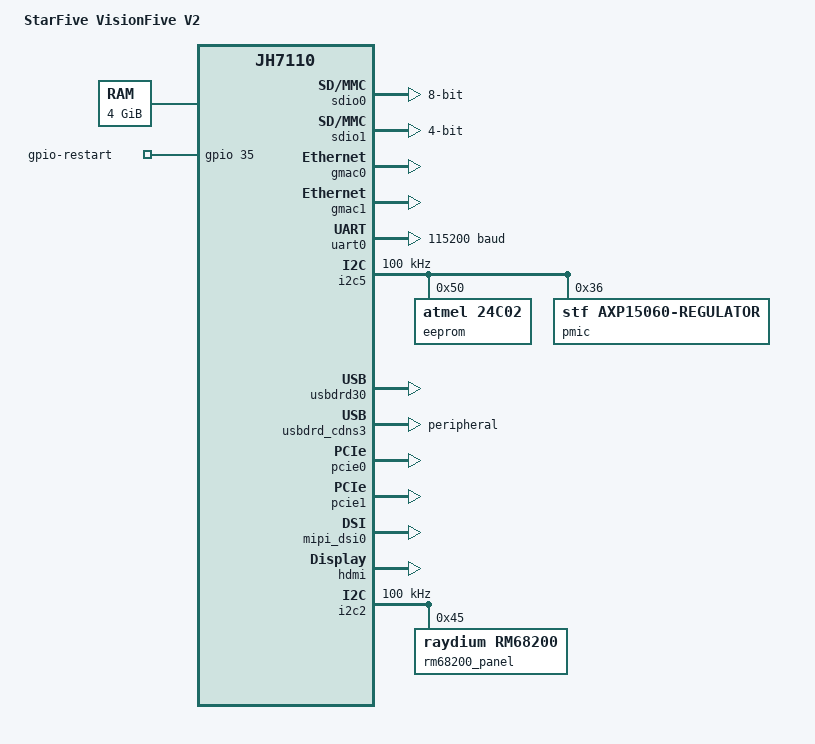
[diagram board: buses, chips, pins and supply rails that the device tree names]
// SPDX-License-Identifier: GPL-2.0 OR MIT
/*
 * Copyright (C) 2022 StarFive Technology Co., Ltd.
 */

/dts-v1/;

#include "jh7110.dtsi"
#include <dt-bindings/gpio/gpio.h>
#include <dt-bindings/pinctrl/pinctrl-starfive-jh7110.h>
/ {
	#address-cells = <2>;
	#size-cells = <2>;
	model = "StarFive VisionFive V2";
	compatible = "starfive,jh7110";

	aliases {
		spi0="/soc/spi@13010000";
		gpio0="/soc/gpio@13040000";
		ethernet0=&gmac0;
		ethernet1=&gmac1;
		mmc0=&sdio0;
		mmc1=&sdio1;
		i2c0 = &i2c5;
	};

	chosen {
			stdout-path = "/soc/serial@10000000:115200";
			starfive,boot-hart-id = <1>;
	};


	memory@80000000 {
		device_type = "memory";
		reg = <0x0 0x40000000 0x1 0x0>;
	};

	reserved-memory {
			#size-cells = <2>;
			#address-cells = <2>;
			ranges;

			opensbi {
				reg = <0x00 0x40000000 0x00 0x80000>;
				no-map;
			};
	};

	soc {
	};

	gpio-restart {
		compatible = "gpio-restart";
		gpios = <&gpio 35 GPIO_ACTIVE_HIGH>;
	};
};

&cpu0 {
	status = "okay";
};

&clkgen {
	clocks = <&osc>, <&gmac1_rmii_refin>,
		<&stg_apb>, <&gmac0_rmii_refin>;
	clock-names = "osc", "gmac1_rmii_refin",
		"stg_apb", "gmac0_rmii_refin";
};

&gpio {
	status = "okay";
	gpio-controller;
	uart0_pins: uart0-0 {
		tx-pins {
			pinmux = <GPIOMUX(5, GPOUT_SYS_UART0_TX,
						GPOEN_ENABLE, GPI_NONE)>;
			bias-disable;
			drive-strength = <12>;
			input-disable;
			input-schmitt-disable;
			slew-rate = <0>;
		};

		rx-pins {
			pinmux = <GPIOMUX(6, GPOUT_LOW,
						GPOEN_DISABLE, GPI_SYS_UART0_RX)>;
			bias-pull-up;
			drive-strength = <2>;
			input-enable;
			input-schmitt-enable;
			slew-rate = <0>;
		};
	};

	mmc0_pins: mmc0-pins {
		 mmc0-pins-rest {
			pinmux = <GPIOMUX(62, GPOUT_SYS_SDIO0_RST,
						GPOEN_ENABLE, GPI_NONE)>;
			bias-pull-up;
			drive-strength = <12>;
			input-disable;
			input-schmitt-disable;
			slew-rate = <0>;
		};
	};

	sdcard1_pins: sdcard1-pins {
		sdcard1-pins0 {
			pinmux = <GPIOMUX(10, GPOUT_SYS_SDIO1_CLK,
						GPOEN_ENABLE, GPI_NONE)>;
			bias-pull-up;
			drive-strength = <12>;
			input-disable;
			input-schmitt-disable;
			slew-rate = <0>;
		};

		sdcard1-pins1 {
			pinmux = <GPIOMUX(9, GPOUT_SYS_SDIO1_CMD,
						GPOEN_SYS_SDIO1_CMD, GPI_SYS_SDIO1_CMD)>;
			bias-pull-up;
			drive-strength = <12>;
			input-enable;
			input-schmitt-enable;
			slew-rate = <0>;
		};

		sdcard1-pins2 {
			pinmux = <GPIOMUX(11, GPOUT_SYS_SDIO1_DATA0,
						GPOEN_SYS_SDIO1_DATA0, GPI_SYS_SDIO1_DATA0)>;
			bias-pull-up;
			drive-strength = <12>;
			input-enable;
			input-schmitt-enable;
			slew-rate = <0>;
		};

		sdcard1-pins3 {
			pinmux = <GPIOMUX(12, GPOUT_SYS_SDIO1_DATA1,
						GPOEN_SYS_SDIO1_DATA1, GPI_SYS_SDIO1_DATA1)>;
			bias-pull-up;
			drive-strength = <12>;
			input-enable;
			input-schmitt-enable;
			slew-rate = <0>;
		};

		sdcard1-pins4 {
			pinmux = <GPIOMUX(7, GPOUT_SYS_SDIO1_DATA2,
						GPOEN_SYS_SDIO1_DATA2, GPI_SYS_SDIO1_DATA2)>;
			bias-pull-up;
			drive-strength = <12>;
			input-enable;
			input-schmitt-enable;
			slew-rate = <0>;
		};

		sdcard1-pins5 {
			pinmux = <GPIOMUX(8, GPOUT_SYS_SDIO1_DATA3,
						GPOEN_SYS_SDIO1_DATA3, GPI_SYS_SDIO1_DATA3)>;
			bias-pull-up;
			drive-strength = <12>;
			input-enable;
			input-schmitt-enable;
			slew-rate = <0>;
		};
	};

	pcie0_perst_default: pcie0_perst_default {
		perst-pins {
			pinmux = <GPIOMUX(26, GPOUT_HIGH, GPOEN_ENABLE, GPI_NONE)>;
			drive-strength = <2>;
			input-disable;
			input-schmitt-disable;
			slew-rate = <0>;
		};
	};

	pcie0_perst_active: pcie0_perst_active {
		perst-pins {
			pinmux = <GPIOMUX(26, GPOUT_LOW, GPOEN_ENABLE, GPI_NONE)>;
			drive-strength = <2>;
			input-disable;
			input-schmitt-disable;
			slew-rate = <0>;
		};
	};

	pcie0_wake_default: pcie0_wake_default {
		wake-pins {
			pinmux = <GPIOMUX(32, GPOUT_HIGH, GPOEN_ENABLE, GPI_NONE)>;
			drive-strength = <2>;
			input-enable;
			input-schmitt-disable;
			slew-rate = <0>;
		};
	};

	pcie0_clkreq_default: pcie0_clkreq_default {
		clkreq-pins {
			pinmux = <GPIOMUX(27, GPOUT_HIGH, GPOEN_ENABLE, GPI_NONE)>;
			drive-strength = <2>;
			input-enable;
			input-schmitt-disable;
			slew-rate = <0>;
		};
	};

	pcie1_perst_default: pcie1_perst_default {
		perst-pins {
			pinmux = <GPIOMUX(28, GPOUT_HIGH, GPOEN_ENABLE, GPI_NONE)>;
			drive-strength = <2>;
			input-disable;
			input-schmitt-disable;
			slew-rate = <0>;
		};
	};

	pcie1_perst_active: pcie1_perst_active {
		perst-pins {
			pinmux = <GPIOMUX(28, GPOUT_LOW, GPOEN_ENABLE, GPI_NONE)>;
			drive-strength = <2>;
			input-disable;
			input-schmitt-disable;
			slew-rate = <0>;
		};
	};

	pcie1_wake_default: pcie1_wake_default {
		wake-pins {
			pinmux = <GPIOMUX(21, GPOUT_HIGH, GPOEN_ENABLE, GPI_NONE)>;
			drive-strength = <2>;
			input-enable;
			input-schmitt-disable;
			slew-rate = <0>;
		};
	};

	pcie1_clkreq_default: pcie1_clkreq_default {
		clkreq-pins {
			pinmux = <GPIOMUX(29, GPOUT_HIGH, GPOEN_ENABLE, GPI_NONE)>;
			drive-strength = <2>;
			input-enable;
			input-schmitt-disable;
			slew-rate = <0>;
		};
	};

	i2c2_pins: i2c2-0 {
		i2c-pins {
			pinmux = <GPIOMUX(3, GPOUT_LOW,
				  GPOEN_SYS_I2C2_CLK,
				  GPI_SYS_I2C2_CLK)>,
				 <GPIOMUX(2, GPOUT_LOW,
				  GPOEN_SYS_I2C2_DATA,
				  GPI_SYS_I2C2_DATA)>;
			bias-disable; /* external pull-up */
			input-enable;
			input-schmitt-enable;
		};
	};

	i2c5_pins: i2c5-0 {
		i2c-pins {
			pinmux = <GPIOMUX(19, GPOUT_LOW,
				  GPOEN_SYS_I2C5_CLK,
				  GPI_SYS_I2C5_CLK)>,
				 <GPIOMUX(20, GPOUT_LOW,
				  GPOEN_SYS_I2C5_DATA,
				  GPI_SYS_I2C5_DATA)>;
			bias-disable; /* external pull-up */
			input-enable;
			input-schmitt-enable;
		};
	};

	hdmi_pins: hdmi-0 {


		cec-pins {
			pinmux = <GPIOMUX(14, GPOUT_SYS_HDMI_CEC_SDA,
				  GPOEN_SYS_HDMI_CEC_SDA,
				  GPI_SYS_HDMI_CEC_SDA)>;
			bias-pull-up;
			input-enable;
		};

		hpd-pins {
			pinmux = <GPIOMUX(15, GPOUT_LOW,
				  GPOEN_DISABLE,
				  GPI_SYS_HDMI_HPD)>;
			input-enable;
		};
	};
};

&sdio0 {
	assigned-clocks = <&clkgen JH7110_SDIO0_CLK_SDCARD>;
	assigned-clock-rates = <50000000>;
	fifo-depth = <32>;
	bus-width = <8>;
	pinctrl-names = "default";
	pinctrl-0 = <&mmc0_pins>;
	status = "okay";
};

&sdio1 {
	assigned-clocks = <&clkgen JH7110_SDIO1_CLK_SDCARD>;
	assigned-clock-rates = <50000000>;
	fifo-depth = <32>;
	bus-width = <4>;
	pinctrl-names = "default";
	pinctrl-0 = <&sdcard1_pins>;
	status = "okay";
};

&gmac0 {
	status = "okay";
	#address-cells = <1>;
	#size-cells = <0>;
	phy0: ethernet-phy@0 {
		rgmii_sw_dr_2 = <0x0>;
		rgmii_sw_dr = <0x3>;
		rgmii_sw_dr_rxc = <0x6>;
		rxc_dly_en = <0>;
		rx_delay_sel = <0xa>;
		tx_delay_sel_fe = <5>;
		tx_delay_sel = <0xa>;
		tx_inverted_10 = <0x1>;
		tx_inverted_100 = <0x1>;
		tx_inverted_1000 = <0x1>;
	};
};

&gmac1 {
	status = "okay";
	#address-cells = <1>;
	#size-cells = <0>;
	phy1: ethernet-phy@1 {
		rgmii_sw_dr_2 = <0x0>;
		rgmii_sw_dr = <0x3>;
		rgmii_sw_dr_rxc = <0x6>;
		tx_delay_sel_fe = <5>;
		tx_delay_sel = <0>;
		rxc_dly_en = <0>;
		rx_delay_sel = <0x2>;
		tx_inverted_10 = <0x1>;
		tx_inverted_100 = <0x1>;
		tx_inverted_1000 = <0x0>;
	};
};

&uart0 {
	reg-offset = <0>;
	current-speed = <115200>;
	pinctrl-names = "default";
	pinctrl-0 = <&uart0_pins>;
	status = "okay";
};

&i2c5 {
	clock-frequency = <100000>;
	i2c-sda-hold-time-ns = <300>;
	i2c-sda-falling-time-ns = <3000>;
	i2c-scl-falling-time-ns = <3000>;
	auto_calc_scl_lhcnt;
	status = "okay";

	eeprom@50 {
		compatible = "atmel,24c02";
		reg = <0x50>;
		pagesize = <16>;
	};

	pmic: axp15060_reg@36 {
               compatible = "stf,axp15060-regulator";
               reg = <0x36>;
	};

};

&gpioa {
	status = "disabled";
};

&usbdrd30 {
	status = "okay";
};

&usbdrd_cdns3 {
	dr_mode = "peripheral";
};

&pcie0 {
	pinctrl-names = "perst-default", "perst-active", "wake-default", "clkreq-default";
	pinctrl-0 = <&pcie0_perst_default>;
	pinctrl-1 = <&pcie0_perst_active>;
	pinctrl-2 = <&pcie0_wake_default>;
	pinctrl-3 = <&pcie0_clkreq_default>;
	status = "okay";
};

&pcie1 {
	pinctrl-names = "perst-default", "perst-active", "wake-default", "clkreq-default";
	pinctrl-0 = <&pcie1_perst_default>;
	pinctrl-1 = <&pcie1_perst_active>;
	pinctrl-2 = <&pcie1_wake_default>;
	pinctrl-3 = <&pcie1_clkreq_default>;
	status = "okay";
};

&timer {
	status = "disabled";
};

&wdog {
	status = "disabled";
};

&clkvout {
	status = "okay";
};

&pdm {
	status = "disabled";
};

&mipi_dsi0 {
	status = "okay";
	rockchip,panel = <&rm68200_panel>;
	data-lanes-num = <1>;
	display-timings {
		timing0 {
		bits-per-pixel = <24>;
		clock-frequency = <160000000>;
		hfront-porch = <120>;
		hsync-len = <20>;
		hback-porch = <21>;
		hactive = <1200>;
		vfront-porch = <21>;
		vsync-len = <3>;
		vback-porch = <18>;
		vactive = <1920>;
		hsync-active = <0>;
		vsync-active = <0>;
		de-active = <1>;
		pixelclk-active = <0>;
		};
	};

};

&hdmi{
	pinctrl-names = "default";
	pinctrl-0 = <&hdmi_pins>;
	status = "okay";
};

&i2c2 {
	clock-frequency = <100000>;
	i2c-sda-hold-time-ns = <300>;
	i2c-sda-falling-time-ns = <3000>;
	i2c-scl-falling-time-ns = <3000>;
	auto_calc_scl_lhcnt;
	pinctrl-names = "default";
	pinctrl-0 = <&i2c2_pins>;
	status = "okay";

	rm68200_panel: rm68200_panel@45 {
		compatible = "raydium,rm68200";
		reg = <0x45>;

	};


};

